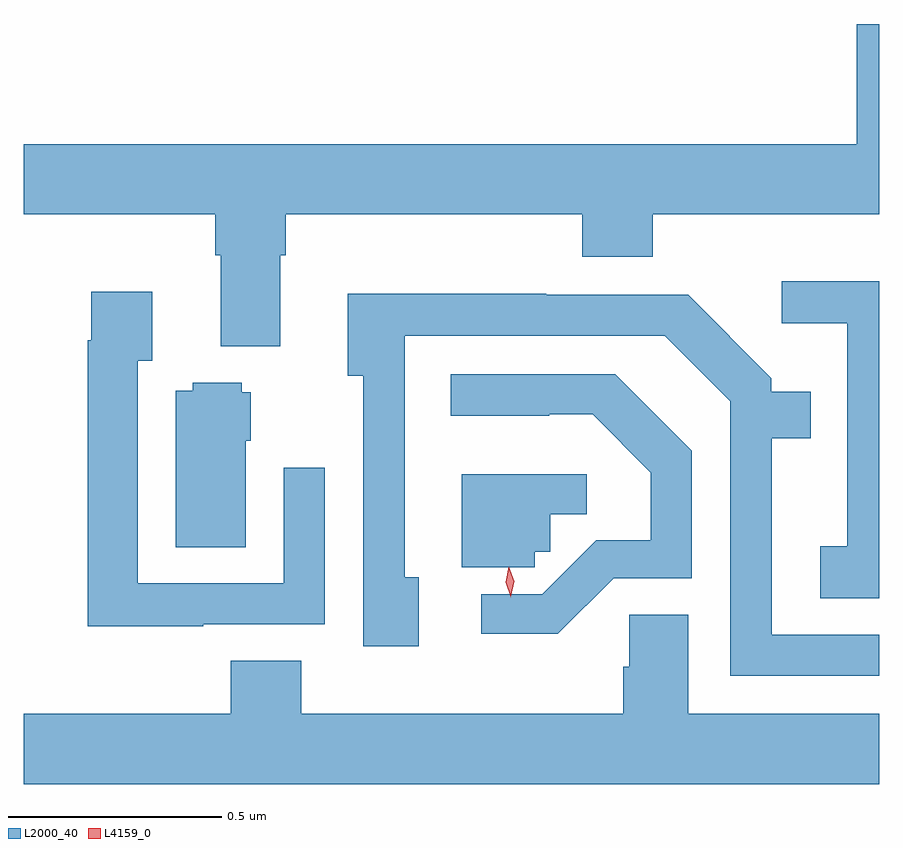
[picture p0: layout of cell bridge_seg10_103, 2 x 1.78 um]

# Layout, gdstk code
import gdstk
lib = gdstk.Library(unit=1e-6, precision=1e-09)
def P(c, l, *ps):  # polygons
    for p in ps: c.add(gdstk.Polygon(p, *l))
L2000_40 = (2000, 40)
L4159_0 = (4159, 0)

bridge_seg10_103 = lib.new_cell('bridge_seg10_103')
P(bridge_seg10_103, L2000_40, [(498.127,1316.204),(498.14,1316.204),(498.14,1316.3),(498.833,1316.3),(498.833,1316.201),(498.998,1316.201),(498.998,1316.3),(499.527,1316.3),(499.527,1316.745),(499.475,1316.745),(499.475,1316.464),(497.527,1316.464),(497.527,1316.3),(497.975,1316.3),(497.975,1316.204),(497.987,1316.204),(497.987,1315.991),(498.127,1315.991)],
  [(499.527,1316.143),(499.299,1316.143),(499.299,1316.045),(499.452,1316.045),(499.452,1315.524),(499.389,1315.524),(499.389,1315.402),(499.527,1315.402)],
  [(497.947,1315.341),(498.231,1315.341),(498.231,1315.708),(498.135,1315.708),(498.135,1315.437),(497.793,1315.437),(497.793,1315.958),(497.827,1315.958),(497.827,1316.119),(497.685,1316.119),(497.685,1316.006),(497.677,1316.006),(497.677,1315.337),(497.947,1315.337)],
  [(499.527,1315.317),(499.276,1315.317),(499.276,1315.776),(499.367,1315.776),(499.367,1315.885),(499.275,1315.885),(499.275,1315.917),(499.08,1316.112),(498.749,1316.112),(498.749,1316.114),(498.284,1316.114),(498.284,1315.922),(498.321,1315.922),(498.321,1315.29),(498.451,1315.29),(498.451,1315.451),(498.418,1315.451),(498.418,1316.016),(499.026,1316.016),(499.179,1315.863),(499.179,1315.221),(499.527,1315.221)],
  [(498.906,1315.449),(499.089,1315.449),(499.089,1315.747),(498.91,1315.926),(498.525,1315.926),(498.525,1315.829),(498.755,1315.829),(498.755,1315.832),(498.857,1315.832),(498.993,1315.696),(498.993,1315.538),(498.865,1315.538),(498.739,1315.412),(498.597,1315.412),(498.597,1315.319),(498.776,1315.319)],
  [(498.046,1315.77),(498.058,1315.77),(498.058,1315.884),(498.036,1315.884),(498.036,1315.906),(497.922,1315.906),(497.922,1315.888),(497.882,1315.888),(497.882,1315.522),(498.046,1315.522)],
  [(498.722,1315.511),(498.758,1315.511),(498.758,1315.599),(498.843,1315.599),(498.843,1315.692),(498.551,1315.692),(498.551,1315.475),(498.722,1315.475)],
  [(499.527,1315.132),(499.081,1315.132),(499.081,1315.364),(498.943,1315.364),(498.943,1315.242),(498.929,1315.242),(498.929,1315.132),(498.176,1315.132),(498.176,1315.256),(498.011,1315.256),(498.011,1315.132),(497.527,1315.132),(497.527,1314.968),(499.527,1314.968)])
P(bridge_seg10_103, L4159_0, [(498.666,1315.405),(498.666,1315.406),(498.654,1315.44),(498.661,1315.476),(498.661,1315.476),(498.661,1315.476),(498.674,1315.442),(498.666,1315.406)])

lib.write_gds('bridge_seg10_103.gds')
